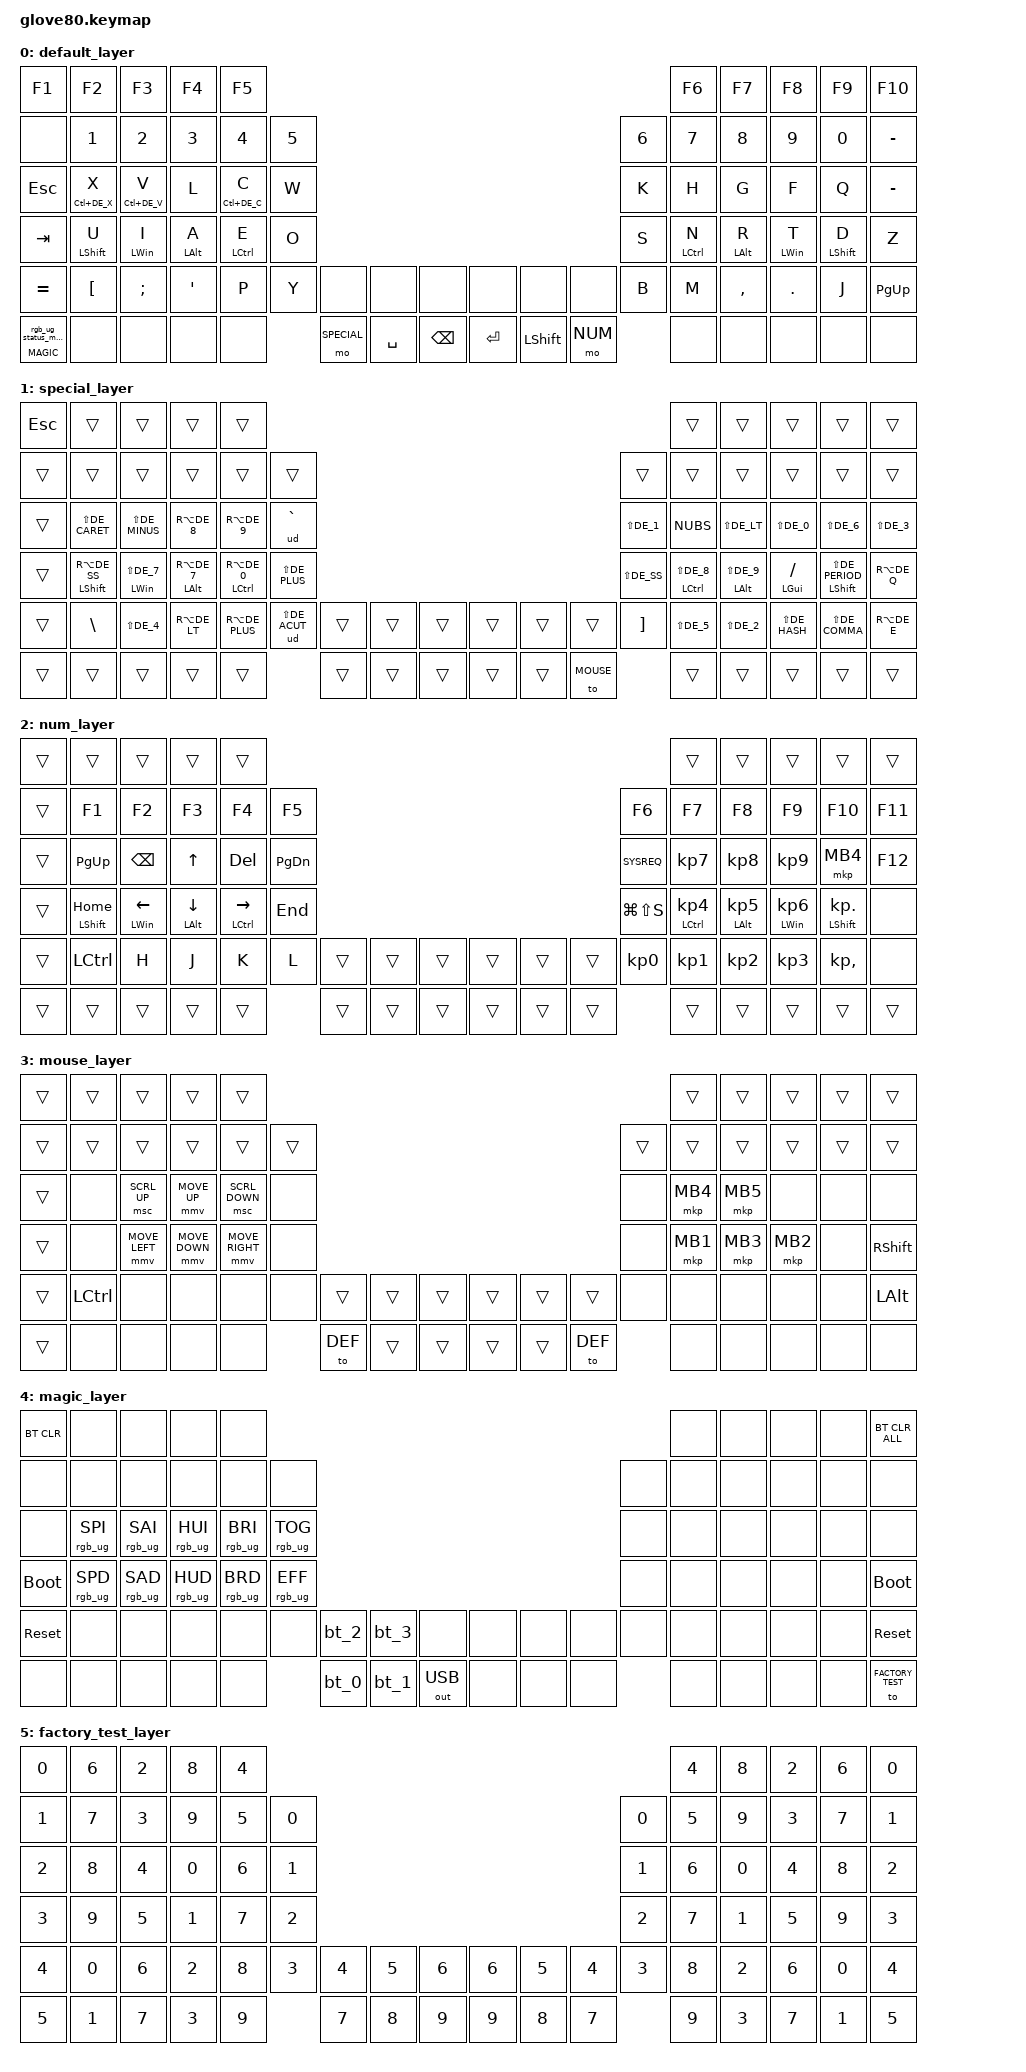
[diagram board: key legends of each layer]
/*
 * Copyright (c) 2020 The ZMK Contributors
 *
 * SPDX-License-Identifier: MIT
 */

#include <dt-bindings/zmk/mouse.h>
#include <behaviors.dtsi>
#include <dt-bindings/zmk/bt.h>
#include <dt-bindings/zmk/keys.h>
#include <dt-bindings/zmk/outputs.h>
#include <dt-bindings/zmk/pointing.h>
#include <dt-bindings/zmk/rgb.h>

#define HYPER LC(LS(LG(LALT)))

// layers

#define DEF 0
#define SPECIAL 1
#define NUM 2
#define MOUSE 3
#define MAGIC 4
#define FACTORY_TEST 5

// shortcuts

#define NUM1 KP_NUMBER_1
#define NUM2 KP_NUMBER_2
#define NUM3 KP_NUMBER_3
#define NUM4 KP_NUMBER_4
#define NUM5 KP_NUMBER_5
#define NUM6 KP_NUMBER_6
#define NUM7 KP_NUMBER_7
#define NUM8 KP_NUMBER_8
#define NUM9 KP_NUMBER_9
#define NUM0 KP_NUMBER_0

// DE

#define DE_CARET GRAVE  	// ^ (dead)
#define DE_1    N1        	// 1
#define DE_2    N2        	// 2
#define DE_3    N3        	// 3
#define DE_4    N4        	// 4
#define DE_5    N5        	// 5
#define DE_6    N6        	// 6
#define DE_7    N7        	// 7
#define DE_8    N8        	// 8
#define DE_9    N9        	// 9
#define DE_0    N0        	// 0
#define DE_SS   MINUS		// ß
#define DE_ACUT EQUAL	  	// ´ (dead)
#define DE_Q    Q    		// Q
#define DE_W    W    		// W
#define DE_E    E    		// E
#define DE_R    R    		// R
#define DE_T    T   	 	// T
#define DE_Z    Y    		// Z
#define DE_U    U    		// U
#define DE_I    I    		// I
#define DE_O    O    		// O
#define DE_P    P    		// P
#define DE_UE	LBKT	 	// Ü
#define DE_PLUS RBKT 		// +
#define DE_A    A    		// A
#define DE_S    S    		// S
#define DE_D    D    		// D
#define DE_F    F    		// F
#define DE_G    G    		// G
#define DE_H    H    		// H
#define DE_J    J    		// J
#define DE_K    K    		// K
#define DE_L    L    		// L
#define DE_OE	SEMI	 	// Ö
#define DE_AE	SQT		 	// Ä
#define DE_HASH BACKSLASH 	// #
#define DE_LT	NUBS 		// <
#define DE_Y    Z    		// Y
#define DE_X    X    		// X
#define DE_C    C    		// C
#define DE_V    V    		// V
#define DE_B    B    		// B
#define DE_N    N    		// N
#define DE_M    M    		// M
#define DE_COMMA COMMA	 	// ,
#define DE_PERIOD PERIOD	// .
#define DE_MINUS SLASH 		// -
#define DE_DEG  LS(DE_CARET)// °
#define DE_EXLM LS(DE_1)    // !
#define DE_DQUO LS(DE_2)    // "
#define DE_SECT LS(DE_3)    // §
#define DE_DLR  LS(DE_4)    // $
#define DE_PERC LS(DE_5)    // %
#define DE_AMPR LS(DE_6)    // &
#define DE_SLSH LS(DE_7)    // /
#define DE_LPRN LS(DE_8)    // (
#define DE_RPRN LS(DE_9)    // )
#define DE_EQL  LS(DE_0)    // =
#define DE_QUES LS(DE_SS)   // ?
#define DE_GRV  LS(DE_ACUT) // ` (dead)
#define DE_ASTR LS(DE_PLUS) // *
#define DE_QUOT LS(DE_HASH) // '
#define DE_GT	LS(DE_LT)	// >
#define DE_SCLN LS(DE_COMMA)// ;
#define DE_COLN LS(DE_PERIOD)  // :
#define DE_UNDS LS(DE_MINUS)// _
#define DE_SUP2 RA(DE_2)    // ²
#define DE_SUP3 RA(DE_3)    // ³
#define DE_LCBR RA(DE_7)    // {
#define DE_LBRC RA(DE_8)    // [
#define DE_RBRC RA(DE_9)    // ]
#define DE_RCBR RA(DE_0)    // }
#define DE_BSLS RA(DE_SS)   // (backslash)
#define DE_AT   RA(DE_Q)    // @
#define DE_EURO RA(DE_E)    // €
#define DE_TILD RA(DE_PLUS) // ~
#define DE_PIPE RA(DE_LT)	// |
#define DE_MICR RA(DE_M)    // µ

// Homerow mod timing

#define HM_TAPPING_TERM 280
#define HM_QUICK_TAP    175

/ {
    behaviors {
        magic: magic_hold_tap {
            compatible = "zmk,behavior-hold-tap";
            label = "MAGIC_HOLD_TAP";
            #binding-cells = <2>;
            flavor = "tap-preferred";
            tapping-term-ms = <200>;
            bindings = <&mo>, <&rgb_ug_status_macro>;
        };

        ct: control_tap {
            compatible = "zmk,behavior-hold-tap";
            label = "CONTROL_HOLD_TAP";
            #binding-cells = <2>;
            flavor = "tap-preferred";
            tapping-term-ms = <200>;
            quick-tap-ms = <150>;
            bindings = <&kp>, <&kp>;
        };

        hm_l: homerow_mods_left {
            compatible = "zmk,behavior-hold-tap";
            label = "HOMEROW_MODS_LEFT";
            #binding-cells = <2>;
            bindings = <&kp>, <&kp>;

            flavor = "balanced";
            tapping-term-ms = <HM_TAPPING_TERM>;
            quick-tap-ms = <HM_QUICK_TAP>;
            require-prior-idle-ms = <150>;
            hold-trigger-key-positions = <6 7 8 9 18 19 20 21 30 31 32 33 40 41 42 43 44 72 73 74 5 17 29 16 28 63 45 78 62 79 61 60 59 58 75 76 77 55 57 56>;
            hold-trigger-on-release;
        };

        hm_r: homerow_mods_right {
            compatible = "zmk,behavior-hold-tap";
            label = "HOMEROW_MODS_RIGHT";
            #binding-cells = <2>;
            bindings = <&kp>, <&kp>;

            flavor = "balanced";
            tapping-term-ms = <HM_TAPPING_TERM>;
            quick-tap-ms = <HM_QUICK_TAP>;
            require-prior-idle-ms = <150>;
            hold-trigger-key-positions = <0 1 2 3 4 10 11 12 13 14 15 22 23 24 25 26 27 34 35 36 37 38 39 46 47 48 49 50 51 52 53 54 64 65 66 67 68 69 70 71>;
            hold-trigger-on-release;
        };

        ud: undead_macro {
            compatible = "zmk,behavior-macro-one-param";
            label = "UNDEAD_MACRO";
            #binding-cells = <1>;
            bindings = <&macro_param_1to1 &kp MACRO_PLACEHOLDER &kp SPACE>;
        };
    };

    macros {
        rgb_ug_status_macro: rgb_ug_status_macro_0 {
            label = "RGB_UG_STATUS";
            compatible = "zmk,behavior-macro";
            #binding-cells = <0>;
            bindings = <&rgb_ug RGB_STATUS>;
        };

        bt_0: bt_profile_macro_0 {
            label = "BT_0";
            compatible = "zmk,behavior-macro";
            #binding-cells = <0>;
            bindings = <&out OUT_BLE &bt BT_SEL 0>;
        };

        bt_1: bt_profile_macro_1 {
            label = "BT_1";
            compatible = "zmk,behavior-macro";
            #binding-cells = <0>;
            bindings = <&out OUT_BLE &bt BT_SEL 1>;
        };

        bt_2: bt_profile_macro_2 {
            label = "BT_2";
            compatible = "zmk,behavior-macro";
            #binding-cells = <0>;
            bindings = <&out OUT_BLE &bt BT_SEL 2>;
        };

        bt_3: bt_profile_macro_3 {
            label = "BT_3";
            compatible = "zmk,behavior-macro";
            #binding-cells = <0>;
            bindings = <&out OUT_BLE &bt BT_SEL 3>;
        };
    };

    combos {
        compatible = "zmk,combos";

        numlock_combo {
            bindings = <&kp KP_NLCK>;
            key-positions = <59 62>;
            layers = <NUM>;
            timeout-ms = <25>;
        };
    };

    keymap {
        compatible = "zmk,keymap";

        default_layer {
            bindings = <
&kp F1          &kp F2             &kp F3             &kp F4           &kp F5                                                                                                    &kp F6            &kp F7           &kp F8           &kp F9             &kp F10
&none           &kp DE_1           &kp DE_2           &kp DE_3         &kp DE_4           &kp DE_5                                                                     &kp DE_6  &kp DE_7          &kp DE_8         &kp DE_9         &kp DE_0           &kp DE_SS
&kp ESC         &ct LC(DE_X) DE_X  &ct LC(DE_V) DE_V  &kp DE_L         &ct LC(DE_C) DE_C  &kp DE_W                                                                     &kp DE_K  &kp DE_H          &kp DE_G         &kp DE_F         &kp DE_Q           &kp DE_SS
&kp TAB         &hm_l LSHIFT DE_U  &hm_l LWIN DE_I    &hm_l LALT DE_A  &hm_l LCTRL DE_E   &kp DE_O                                                                     &kp DE_S  &hm_r LCTRL DE_N  &hm_r LALT DE_R  &hm_r LWIN DE_T  &hm_r LSHIFT DE_D  &kp DE_Y
&kp DE_ACUT     &kp DE_UE          &kp DE_OE          &kp DE_AE        &kp DE_P           &kp DE_Z  &none        &none      &none     &none       &none       &none    &kp DE_B  &kp DE_M          &kp DE_COMMA     &kp DE_PERIOD    &kp DE_J           &kp PG_UP
&magic MAGIC 0  &none              &none              &none            &none                        &mo SPECIAL  &kp SPACE  &kp BSPC  &kp RETURN  &kp LSHIFT  &mo NUM            &none             &none            &none            &none              &none
            >;
        };

        special_layer {
            bindings = <
&kp ESC  &trans                &trans              &trans              &trans                                                                                             &trans               &trans              &trans               &trans                &trans
&trans   &trans                &trans              &trans              &trans               &trans                                                           &trans       &trans               &trans              &trans               &trans                &trans
&trans   &kp DE_DEG            &kp DE_UNDS         &kp DE_LBRC         &kp DE_RBRC          &ud DE_CARET                                                     &kp DE_EXLM  &kp DE_LT            &kp DE_GT           &kp DE_EQL           &kp DE_AMPR           &kp DE_SECT
&trans   &hm_l LSHIFT DE_BSLS  &hm_l LWIN DE_SLSH  &hm_l LALT DE_LCBR  &hm_l LCTRL DE_RCBR  &kp DE_ASTR                                                      &kp DE_QUES  &hm_r LCTRL DE_LPRN  &hm_r LALT DE_RPRN  &hm_r LGUI DE_MINUS  &hm_r LSHIFT DE_COLN  &kp DE_AT
&trans   &kp DE_HASH           &kp DE_DLR          &kp DE_PIPE         &kp DE_TILD          &ud DE_GRV    &trans  &trans  &trans  &trans  &trans  &trans     &kp DE_PLUS  &kp DE_PERC          &kp DE_DQUO         &kp DE_QUOT          &kp DE_SCLN           &kp DE_EURO
&trans   &trans                &trans              &trans              &trans                             &trans  &trans  &trans  &trans  &trans  &to MOUSE               &trans               &trans              &trans               &trans                &trans
            >;
        };

        num_layer {
            bindings = <
&trans  &trans             &trans           &trans           &trans                                                                                       &trans            &trans           &trans           &trans               &trans
&trans  &kp F1             &kp F2           &kp F3           &kp F4             &kp F5                                                     &kp F6         &kp F7            &kp F8           &kp F9           &kp F10              &kp F11
&trans  &kp PG_UP          &kp BSPC         &kp UP           &kp DELETE         &kp PG_DN                                                  &kp SYSREQ     &kp NUM7          &kp NUM8         &kp NUM9         &mkp MB4             &kp F12
&trans  &hm_l LSHIFT HOME  &hm_l LWIN LEFT  &hm_l LALT DOWN  &hm_l LCTRL RIGHT  &kp END                                                    &kp LG(LS(S))  &hm_r LCTRL NUM4  &hm_r LALT NUM5  &hm_r LWIN NUM6  &hm_r LSHIFT KP_DOT  &none
&trans  &kp LCTRL          &kp H            &kp J            &kp K              &kp L      &trans  &trans  &trans  &trans  &trans  &trans  &kp NUM0       &kp NUM1          &kp NUM2         &kp NUM3         &kp KP_COMMA         &none
&trans  &trans             &trans           &trans           &trans                        &trans  &trans  &trans  &trans  &trans  &trans                 &trans            &trans           &trans           &trans               &trans
            >;
        };

        mouse_layer {
            bindings = <
&trans  &trans     &trans          &trans          &trans                                                                             &trans    &trans    &trans    &trans  &trans
&trans  &trans     &trans          &trans          &trans           &trans                                                    &trans  &trans    &trans    &trans    &trans  &trans
&trans  &none      &msc SCRL_UP    &mmv MOVE_UP    &msc SCRL_DOWN   &none                                                     &none   &mkp MB4  &mkp MB5  &none     &none   &none
&trans  &none      &mmv MOVE_LEFT  &mmv MOVE_DOWN  &mmv MOVE_RIGHT  &none                                                     &none   &mkp MB1  &mkp MB3  &mkp MB2  &none   &kp RSHIFT
&trans  &kp LCTRL  &none           &none           &none            &none   &trans   &trans  &trans  &trans  &trans  &trans   &none   &none     &none     &none     &none   &kp LALT
&trans  &none      &none           &none           &none                    &to DEF  &trans  &trans  &trans  &trans  &to DEF          &none     &none     &none     &none   &none
            >;
        };

        magic_layer {
            bindings = <
&bt BT_CLR   &none            &none            &none            &none                                                                                     &none  &none  &none  &none  &bt BT_CLR_ALL
&none        &none            &none            &none            &none            &none                                                             &none  &none  &none  &none  &none  &none
&none        &rgb_ug RGB_SPI  &rgb_ug RGB_SAI  &rgb_ug RGB_HUI  &rgb_ug RGB_BRI  &rgb_ug RGB_TOG                                                   &none  &none  &none  &none  &none  &none
&bootloader  &rgb_ug RGB_SPD  &rgb_ug RGB_SAD  &rgb_ug RGB_HUD  &rgb_ug RGB_BRD  &rgb_ug RGB_EFF                                                   &none  &none  &none  &none  &none  &bootloader
&sys_reset   &none            &none            &none            &none            &none            &bt_2  &bt_3  &none         &none  &none  &none  &none  &none  &none  &none  &none  &sys_reset
&none        &none            &none            &none            &none                             &bt_0  &bt_1  &out OUT_USB  &none  &none  &none         &none  &none  &none  &none  &to FACTORY_TEST
            >;
        };

        factory_test_layer {
            bindings = <
&kp N0  &kp N6  &kp N2  &kp N8  &kp N4                                                                  &kp N4  &kp N8  &kp N2  &kp N6  &kp N0
&kp N1  &kp N7  &kp N3  &kp N9  &kp N5  &kp N0                                                  &kp N0  &kp N5  &kp N9  &kp N3  &kp N7  &kp N1
&kp N2  &kp N8  &kp N4  &kp N0  &kp N6  &kp N1                                                  &kp N1  &kp N6  &kp N0  &kp N4  &kp N8  &kp N2
&kp N3  &kp N9  &kp N5  &kp N1  &kp N7  &kp N2                                                  &kp N2  &kp N7  &kp N1  &kp N5  &kp N9  &kp N3
&kp N4  &kp N0  &kp N6  &kp N2  &kp N8  &kp N3  &kp N4  &kp N5  &kp N6  &kp N6  &kp N5  &kp N4  &kp N3  &kp N8  &kp N2  &kp N6  &kp N0  &kp N4
&kp N5  &kp N1  &kp N7  &kp N3  &kp N9          &kp N7  &kp N8  &kp N9  &kp N9  &kp N8  &kp N7          &kp N9  &kp N3  &kp N7  &kp N1  &kp N5
            >;
        };
    };
};
